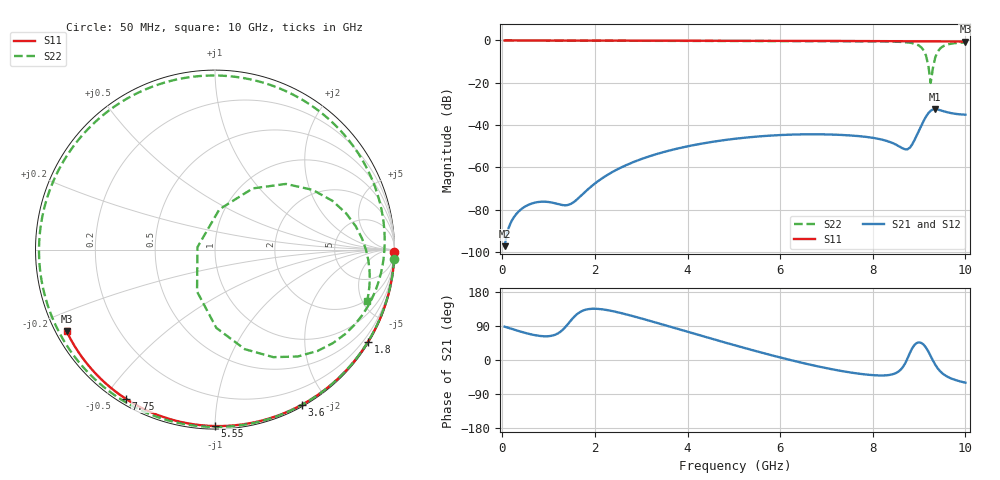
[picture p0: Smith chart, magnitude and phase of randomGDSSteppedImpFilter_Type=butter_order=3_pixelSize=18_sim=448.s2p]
! freq	dB(S11)	phase(S11)	dB(S12)	phase(S12)
!  dB(S21)	phase(S21)	dB(S22)	phase(S22)
!S-par simulation data
#  GHz  S  DB  R 50
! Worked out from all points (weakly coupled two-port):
!   200 points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, 50 MHz to 10 GHz, reference 50 ohm
!   highest |S21| = -32.54 dB at 9.35 GHz (marker M1); lowest = -97.3 dB at 50 MHz (marker M2)
!   lowest |S11| = -0.5 dB at 10 GHz (marker M3), VSWR 34.43, Z = 1.55 - j12.9 ohm
!   |S11| at or under -10 dB: nowhere
!   |S22| runs from -20.1 to 0.0 dB; largest |S21 - S12| = 0
!   S11 on the Smith chart (normalised r, x): 50 MHz: open; 1.8 GHz: 0.03, -3.59; 3.6 GHz: 0.02, -1.71; 5.55 GHz: 0.02, -1.00; 7.75 GHz: 0.02, -0.57; 10 GHz: 0.03, -0.26
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0.05  -0.00 -0.9  -97.34 88.0  -97.34 88.0  -0.00 -3.2
0.95  -0.02 -16.6  -76.34 62.5  -76.34 62.5  -0.07 -57.6
1.4  -0.03 -24.3  -77.93 92.2  -77.93 92.2  -0.10 -82.4
1.75  -0.04 -30.3  -72.43 130.7  -72.43 130.7  -0.11 -100.3
1.8  -0.04 -31.1  -71.42 132.7  -71.42 132.7  -0.11 -102.8
2.6  -0.06 -44.5  -59.75 122.8  -59.75 122.8  -0.14 -139.2
3.4  -0.08 -57.4  -53.32 95.8  -53.32 95.8  -0.16 -171.4
3.6  -0.08 -60.6  -52.13 88.8  -52.13 88.8  -0.17 -179.1
4.3  -0.10 -71.5  -48.84 63.9  -48.84 63.9  -0.19 154.9
5.05  -0.13 -82.8  -46.45 37.8  -46.45 37.8  -0.22 127.5
5.55  -0.15 -90.1  -45.39 21.1  -45.39 21.1  -0.24 109.2
6.7  -0.21 -106.5  -44.39 -13.8  -44.39 -13.8  -0.29 66.4
7.75  -0.28 -120.8  -45.38 -36.9  -45.38 -36.9  -0.36 25.8
8.35  -0.33 -128.9  -47.88 -39.6  -47.88 -39.6  -0.50 -0.3
8.75  -0.37 -134.3  -51.50 4.2  -51.50 4.2  -0.94 -24.2
9.05  -0.40 -138.3  -40.21 44.9  -40.21 44.9  -3.33 -61.5
9.15  -0.41 -139.6  -36.02 32.7  -36.02 32.7  -7.21 -89.0
9.25  -0.42 -141.0  -33.26 10.5  -33.26 10.5  -20.11 172.1
9.35  -0.43 -142.3  -32.54 -12.5  -32.54 -12.5  -7.95 58.3
9.45  -0.44 -143.7  -32.97 -29.0  -32.97 -29.0  -3.91 31.5
9.6  -0.46 -145.7  -33.93 -43.3  -33.93 -43.3  -1.99 9.4
10  -0.50 -151.1  -35.13 -59.8  -35.13 -59.8  -0.96 -18.8
